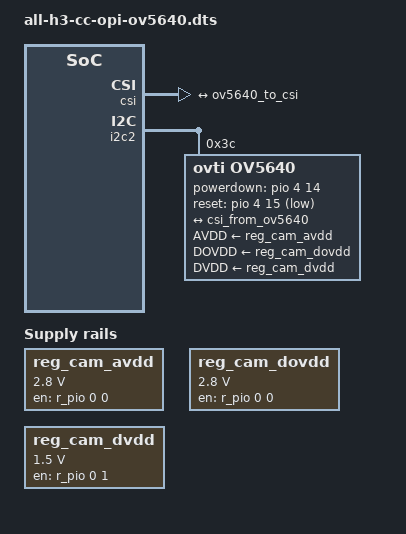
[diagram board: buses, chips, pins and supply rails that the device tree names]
// SPDX-License-Identifier: (GPL-2.0+ OR MIT)
//
// Copyright (C) 2018 Chen-Yu Tsai <wens@csie.org>
//
// Orangepi camera module with sensor swapped out for OV5640

#ifdef __DTO_TEST__
#include <arm/sun8i-h3-libretech-all-h3-cc.dts>
#else
/dts-v1/;
/plugin/;
#endif

#include <dt-bindings/clock/sun8i-h3-ccu.h>
#include <dt-bindings/gpio/gpio.h>

&{/} {
	reg_cam_avdd: cam-avdd {
		compatible = "regulator-fixed";
		regulator-name = "csi-avdd";
		regulator-min-microvolt = <2800000>;
		regulator-max-microvolt = <2800000>;
		startup-delay-us = <200>; /* 50 us + board delays */
		enable-active-high;
		gpio = <&r_pio 0 0 GPIO_ACTIVE_HIGH>; /* PL0 */
	};

	reg_cam_dovdd: cam-dovdd {
		compatible = "regulator-fixed";
		regulator-name = "csi-dovdd";
		regulator-min-microvolt = <2800000>;
		regulator-max-microvolt = <2800000>;
		startup-delay-us = <200>; /* 50 us + board delays */
		enable-active-high;
		gpio = <&r_pio 0 0 GPIO_ACTIVE_HIGH>; /* PL0 */
	};

	reg_cam_dvdd: cam-dvdd {
		compatible = "regulator-fixed";
		regulator-name = "csi-dvdd";
		regulator-min-microvolt = <1500000>;
		regulator-max-microvolt = <1500000>;
		startup-delay-us = <200>; /* 50 us + board delays */
		enable-active-high;
		gpio = <&r_pio 0 1 GPIO_ACTIVE_HIGH>; /* PL1 */
	};
};

&csi {
	status = "okay";

	port {
		/* Parallel bus endpoint */
		csi_from_ov5640: endpoint {
			remote-endpoint = <&ov5640_to_csi>;
			bus-width = <8>;
			hsync-active = <1>; /* Active high */
			vsync-active = <0>; /* Active low */
			data-active = <1>;  /* Active high */
			pclk-sample = <1>;  /* Rising */
		};
	};
};

&i2c2 {
	status = "okay";

	ov5640: camera@3c {
		compatible = "ovti,ov5640";
		reg = <0x3c>;
		pinctrl-names = "default";
		pinctrl-0 = <&csi_mclk_pin>;
		clocks = <&ccu CLK_CSI_MCLK>;
		clock-names = "xclk";

		powerdown-gpios = <&pio 4 14 GPIO_ACTIVE_HIGH>; /* PE14 */
		reset-gpios = <&pio 4 15 GPIO_ACTIVE_LOW>; /* PE15 */
		AVDD-supply = <&reg_cam_avdd>;
		DOVDD-supply = <&reg_cam_dovdd>;
		DVDD-supply = <&reg_cam_dvdd>;

		port {
			ov5640_to_csi: endpoint {
				remote-endpoint = <&csi_from_ov5640>;
				bus-width = <8>;
				data-shift = <2>;
				hsync-active = <1>; /* Active high */
				vsync-active = <0>; /* Active low */
				data-active = <1>;  /* Active high */
				pclk-sample = <1>;  /* Rising */
			};
		};
	};
};

&pio {
	csi_mclk_pin: csi-mclk {
		pins = "PE1";
		function = "csi";
	};
};
